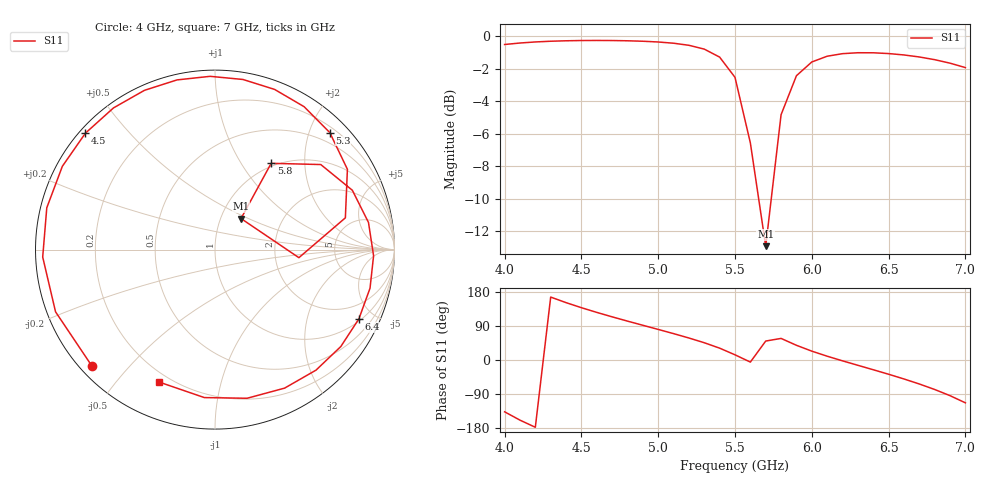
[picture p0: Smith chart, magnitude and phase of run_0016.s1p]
! Touchstone file exported from HFSS 2024.2.0
!  File:  C:/Users/wsak9/Desktop/Sim Fast/Widenad Patch/WP_AI_V1_sweep.aedt
!  Generated:  03:24:32 PM Oct 13, 2026
!  Design:  A1_model
!  Project:  WP_AI_V1_sweep
!  Setup:  Setup1
!  Solution:  Sweep
! Variables:
!  Air_gap = 3.97mm
!  Curve_Amp1 = 1.59
!  Curve_len1 = 1
!  Curve_pos = 10.505mm
!  Extra = 2.01mm
!  H_sub = 0.79mm
!  L_Patch = 17.01mm
!  L_Patch1 = 10.55mm
!  Sx = 4.71mm
!  Sy = 1.91mm
!  WS = 0.25mm
!  W_Patch = 10.38mm
!  W_Patch1 = 8.54mm
!Data is not renormalized
# GHz S MA
! Terminal data exported
! Port[1] = 1
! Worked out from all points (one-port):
!   31 points, 4 GHz to 7 GHz, reference per port
!   lowest |S11| = -12.9 dB at 5.7 GHz (marker M1), VSWR 1.58
!   |S11| at or under -10 dB: 5.654 GHz to 5.736 GHz (82.15 MHz wide, 1.44 % of centre)
!   S11 on the Smith chart (normalised r, x): 4 GHz: 0.03, -0.40; 4.5 GHz: 0.02, +0.38; 5.3 GHz: 0.30, +2.35; 5.8 GHz: 0.95, +1.37; 6.4 GHz: 1.11, -4.10; 7 GHz: 0.16, -0.65
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4  0.9436 -136.7
4.1  0.9536 -158.7
4.2  0.9609 -177.5
4.3  0.9658 166.0
4.4  0.9689 151.4
4.5  0.9706 138.0
4.6  0.9711 125.6
4.8  0.9688 102.6
5  0.9606 80.7
5.1  0.9523 69.6
5.2  0.9383 58.0
5.3  0.9132 45.6
5.4  0.8629 31.2
5.5  0.7476 13.7
5.6  0.4696 -5.5
5.7  0.2258 50.0
5.8  0.5736 56.9
5.9  0.7563 38.8
6  0.8336 23.4
6.1  0.8684 10.0
6.2  0.8843 -2.2
6.3  0.8901 -14.0
6.4  0.8897 -25.7
6.5  0.8849 -37.6
6.7  0.8638 -63.3
6.8  0.8474 -77.8
6.9  0.8266 -94.1
7  0.8011 -113.0
